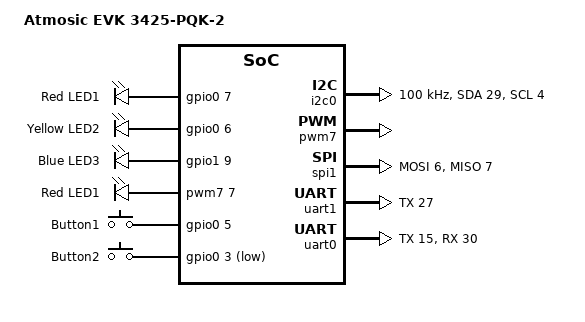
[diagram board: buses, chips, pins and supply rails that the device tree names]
/*
 * Copyright (c) 2021-2024 Atmosic
 *
 * SPDX-License-Identifier: Apache-2.0
 */

/dts-v1/;
#include <arm/atmosic/ATM34xx_ns.dtsi>
#include <dt-bindings/gpio/gpio.h>

/ {
	model = "Atmosic EVK 3425-PQK-2";
	compatible = "atmosic,ATMEVK-3425-PQK-2";

	chosen {
		zephyr,console = &uart1;
		zephyr,shell-uart = &uart1;
		zephyr,uart-mcumgr = &uart0;
		zephyr,bt-mon-uart = &uart1;
		zephyr,bt-c2h-uart = &uart0;
		zephyr,sram = &sram0;
		zephyr,flash-controller = &rram_controller;
		zephyr,flash = &rram0;
		zephyr,code-partition = &nspe_partition;
		zephyr,entropy = &trng;
		zephyr,ieee802154 = &ieee802154;
	};

	leds {
		compatible = "gpio-leds";
		led0: led_0 {
			gpios = <&gpio0 7 GPIO_ACTIVE_HIGH>;
			label = "Red LED1";
		};
		led1: led_1 {
			gpios = <&gpio0 6 GPIO_ACTIVE_HIGH>;
			label = "Yellow LED2";
		};
		led2: led_2 {
			gpios = <&gpio1 9 GPIO_ACTIVE_HIGH>;
			label = "Blue LED3";
		};
	};

        pwmleds {
                compatible = "pwm-leds";
                pwm_led0: pwm_led_0 {
                        pwms = <&pwm7 7 PWM_MSEC(1) PWM_POLARITY_NORMAL>;
			label = "Red LED1";
                };
        };

	buttons {
		compatible = "gpio-keys";
		button0: button_0 {
			gpios = <&gpio0 5 GPIO_ACTIVE_HIGH>;
			label = "Button1";
		};
		button1: button_1 {
			gpios = <&gpio0 3 GPIO_ACTIVE_LOW>;
			label = "Button2";
		};
	};

	/* These aliases are provided for compatibility with samples */
	aliases {
		i2c-1 = &i2c0;
		led0 = &led0;
		pwm-0 = &pwm7;
		pwm-led0 = &pwm_led0;
		sw0 = &button0;
	};
};

&flash_controller {
	clk-pin = <18>;
	csn-pin = <19>;
	d0-pin = <20>;
	d1-pin = <21>;
	d2-pin = <22>;
	d3-pin = <17>;
};

&i2c0 {
        sda-pin = <29>;
        scl-pin = <4>;
	clock-frequency = <I2C_BITRATE_STANDARD>;
};

&pwm7 {
	pin = <7>;
	status = "okay";
};

&spi1 {
	clk-pin = <5>;
	cs-pin = <4>;
	mosi-pin = <6>;
	miso-pin = <7>;
};

&adc {
	ch-cell = <1>;
	ch-batt = <11>;
};

&uart1 {
	tx-pin = <27>;
};

&uart0 {
	rx-pin = <30>;
	tx-pin = <15>;
	rts-pin = <13>;
	cts-pin = <12>;
};

arduino_i2c: &i2c0 {};
arduino_spi: &spi1 {};
